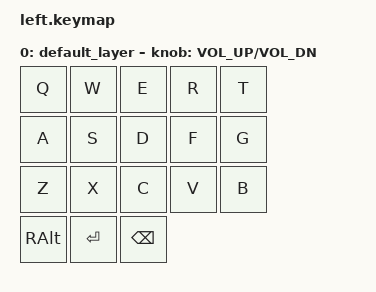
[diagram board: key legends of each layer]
#include <behaviors.dtsi>
#include <dt-bindings/zmk/keys.h>
#include <dt-bindings/zmk/bt.h>

/ {
    keymap {
        compatible = "zmk,keymap";

        default_layer {
            bindings = <
                &kp Q    &kp W    &kp E     &kp R   &kp T
                &kp A    &kp S    &kp D     &kp F   &kp G
                &kp Z    &kp X    &kp C     &kp V   &kp B
                &kp RALT &kp RET  &kp BSPC
            >;

            sensor-bindings = <&inc_dec_kp C_VOL_UP C_VOL_DN>;
        };
    };
};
